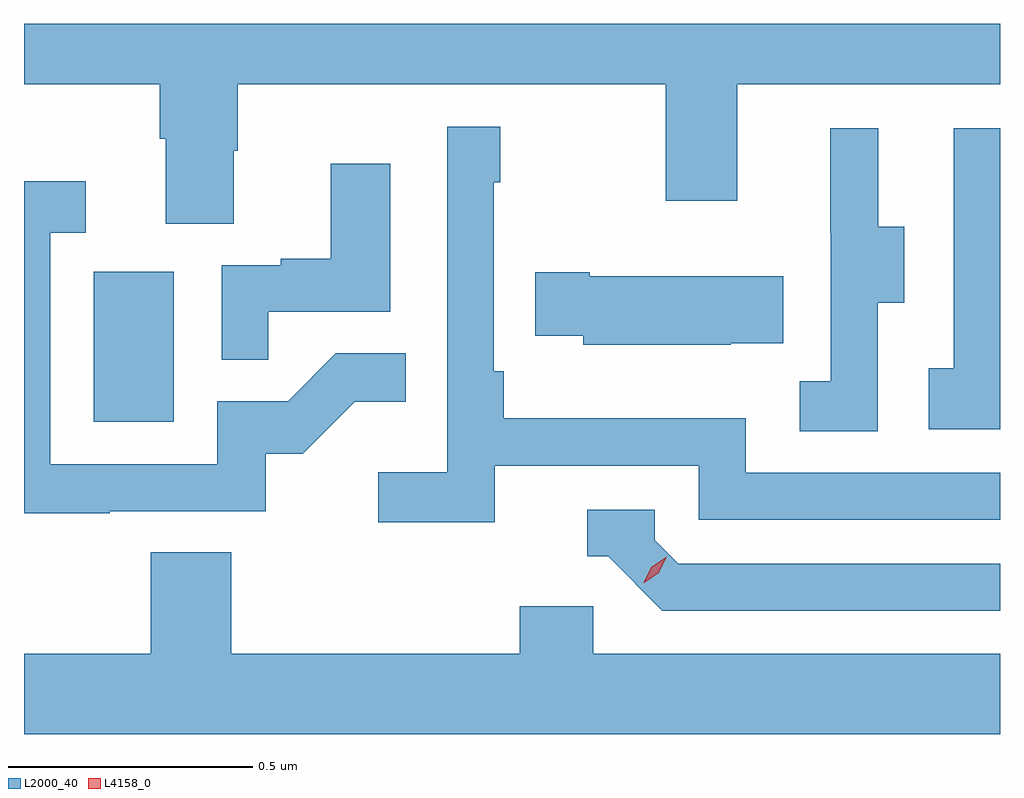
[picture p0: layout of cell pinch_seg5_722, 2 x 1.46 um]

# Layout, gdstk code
import gdstk
lib = gdstk.Library(unit=1e-6, precision=1e-09)
def R(c, l, rs):  # rectangles x0, y0, x1, y1
    for r in rs: c.add(gdstk.rectangle(r[:2], r[2:], *l))
def P(c, l, *ps):  # polygons
    for p in ps: c.add(gdstk.Polygon(p, *l))
L2000_40 = (2000, 40)
L4158_0 = (4158, 0)

pinch_seg5_722 = lib.new_cell('pinch_seg5_722')
R(pinch_seg5_722, L2000_40, [(1083.734,848.076,1083.898,848.383)])
P(pinch_seg5_722, L2000_40, [(1084.021,848.631),(1084.029,848.631),(1084.029,848.768),(1084.906,848.768),(1084.906,848.529),(1085.053,848.529),(1085.053,848.768),(1085.591,848.768),(1085.591,848.891),(1083.591,848.891),(1083.591,848.768),(1083.869,848.768),(1083.869,848.656),(1083.881,848.656),(1083.881,848.482),(1084.021,848.482)],
  [(1084.556,847.986),(1084.974,847.986),(1084.974,847.875),(1085.591,847.875),(1085.591,847.971),(1085.07,847.971),(1085.07,848.083),(1084.574,848.083),(1084.574,848.179),(1084.554,848.179),(1084.554,848.567),(1084.567,848.567),(1084.567,848.68),(1084.458,848.68),(1084.458,847.972),(1084.317,847.972),(1084.317,847.87),(1084.556,847.87)],
  [(1085.34,848.32),(1085.395,848.32),(1085.395,848.475),(1085.341,848.475),(1085.341,848.677),(1085.243,848.677),(1085.243,848.463),(1085.244,848.463),(1085.244,848.159),(1085.181,848.159),(1085.181,848.056),(1085.34,848.056)],
  [(1085.591,848.677),(1085.496,848.677),(1085.496,848.186),(1085.445,848.186),(1085.445,848.061),(1085.591,848.061)],
  [(1084.091,848.301),(1084.342,848.301),(1084.342,848.605),(1084.22,848.605),(1084.22,848.41),(1084.117,848.41),(1084.117,848.397),(1083.996,848.397),(1083.996,848.203),(1084.091,848.203)],
  [(1083.767,847.893),(1084.086,847.893),(1084.086,848.01),(1084.162,848.01),(1084.269,848.117),(1084.373,848.117),(1084.373,848.216),(1084.23,848.216),(1084.132,848.118),(1083.987,848.118),(1083.987,847.989),(1083.645,847.989),(1083.645,848.463),(1083.718,848.463),(1083.718,848.569),(1083.591,848.569),(1083.591,847.888),(1083.767,847.888)],
  [(1085.039,848.237),(1085.147,848.237),(1085.147,848.374),(1084.75,848.374),(1084.75,848.382),(1084.639,848.382),(1084.639,848.252),(1084.737,848.252),(1084.737,848.234),(1085.039,848.234)],
  [(1085.591,847.785),(1084.932,847.785),(1084.884,847.833),(1084.884,847.896),(1084.745,847.896),(1084.745,847.8),(1084.788,847.8),(1084.899,847.689),(1085.591,847.689)],
  [(1085.591,847.6),(1084.758,847.6),(1084.758,847.698),(1084.607,847.698),(1084.607,847.6),(1084.016,847.6),(1084.016,847.808),(1083.851,847.808),(1083.851,847.6),(1083.591,847.6),(1083.591,847.436),(1085.591,847.436)])
P(pinch_seg5_722, L4158_0, [(1084.861,847.746),(1084.861,847.747),(1084.877,847.779),(1084.908,847.799),(1084.908,847.799),(1084.908,847.799),(1084.892,847.766),(1084.862,847.746)])

lib.write_gds('pinch_seg5_722.gds')
